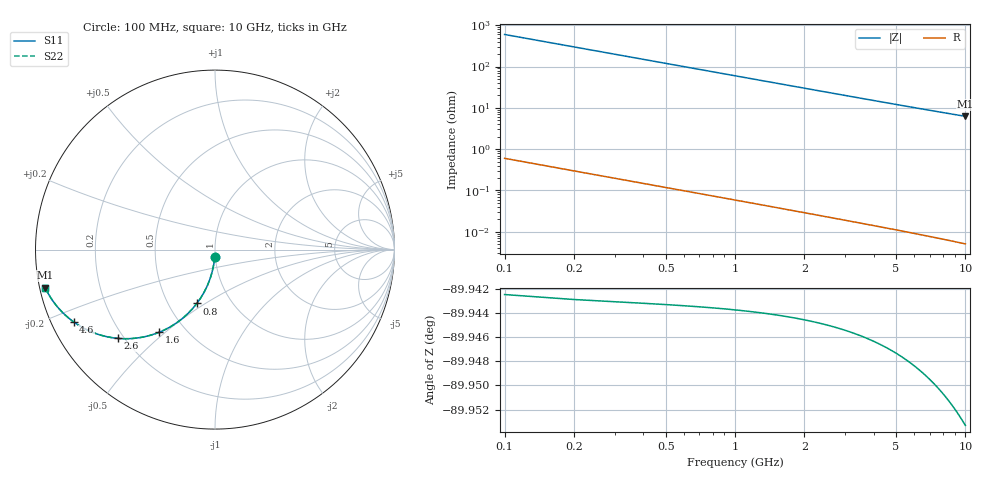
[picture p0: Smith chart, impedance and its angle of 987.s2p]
# Hz S RI R 50.00
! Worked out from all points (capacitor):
!   100 points, 100 MHz to 10 GHz, reference 50 ohm
!   read as one part in shunt: C = 2.67 pF near 100 MHz
!   lowest |Z| = 6.23 ohm at 10 GHz (marker M1)
!   S11 on the Smith chart (normalised r, x): 100 MHz: 0.99, -0.08; 800 MHz: 0.69, -0.46; 1.6 GHz: 0.36, -0.48; 2.6 GHz: 0.18, -0.38; 4.6 GHz: 0.06, -0.24; 10 GHz: 0.02, -0.11
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1e8  -0.00175 -0.0417  0.9982 -0.042  0.9982 -0.042  -0.00175 -0.0417
2e8  -0.00702 -0.083  0.9929 -0.0835  0.9929 -0.0835  -0.00702 -0.083
3e8  -0.0156 -0.1234  0.9843 -0.1241  0.9843 -0.1241  -0.0156 -0.1234
4e8  -0.0275 -0.1625  0.9725 -0.1635  0.9725 -0.1635  -0.0275 -0.1625
5e8  -0.0422 -0.2001  0.9577 -0.2013  0.9577 -0.2013  -0.0422 -0.2001
6e8  -0.0596 -0.2357  0.9403 -0.2371  0.9403 -0.2371  -0.0596 -0.2357
8e8  -0.1013 -0.3003  0.8987 -0.3022  0.8987 -0.3022  -0.1013 -0.3003
1e9  -0.1496 -0.355  0.8503 -0.3574  0.8503 -0.3574  -0.1496 -0.355
1.2e9  -0.202 -0.3996  0.7979 -0.4025  0.7979 -0.4025  -0.202 -0.3996
1.6e9  -0.3103 -0.4602  0.6897 -0.4641  0.6897 -0.4641  -0.3103 -0.4602
1.8e9  -0.3627 -0.4781  0.6372 -0.4825  0.6372 -0.4825  -0.3627 -0.4781
2.2e9  -0.4594 -0.4952  0.5405 -0.5005  0.5405 -0.5005  -0.4594 -0.4952
2.6e9  -0.5426 -0.4945  0.4573 -0.5008  0.4573 -0.5008  -0.5426 -0.4945
3e9  -0.6122 -0.4831  0.3876 -0.4904  0.3876 -0.4904  -0.6122 -0.4831
3.4e9  -0.6697 -0.4656  0.3302 -0.4739  0.3302 -0.4739  -0.6697 -0.4656
4e9  -0.7373 -0.4347  0.2626 -0.4445  0.2626 -0.4445  -0.7373 -0.4347
4.6e9  -0.7878 -0.4027  0.2121 -0.414  0.2121 -0.414  -0.7878 -0.4027
5.1e9  -0.8203 -0.3771  0.1796 -0.3897  0.1796 -0.3897  -0.8203 -0.3771
5.8e9  -0.8552 -0.3441  0.1446 -0.3584  0.1446 -0.3584  -0.8552 -0.3441
6.7e9  -0.8875 -0.307  0.1122 -0.3236  0.1122 -0.3236  -0.8875 -0.307
8.4e9  -0.9256 -0.251  0.074 -0.2721  0.074 -0.2721  -0.9256 -0.251
1e10  -0.9466 -0.2112  0.053 -0.2365  0.053 -0.2365  -0.9466 -0.2112
